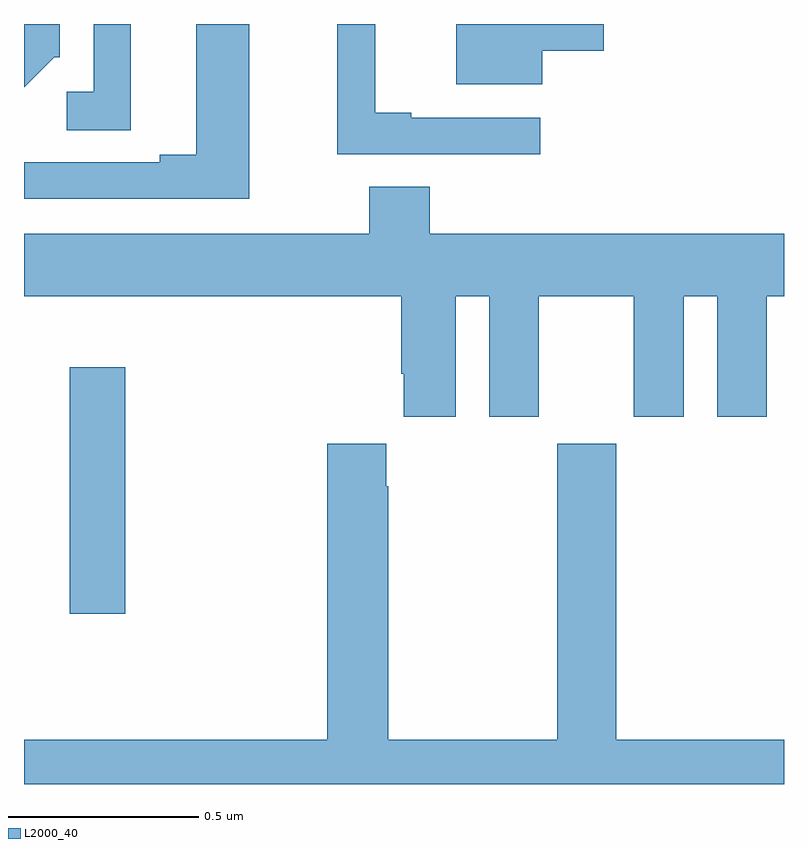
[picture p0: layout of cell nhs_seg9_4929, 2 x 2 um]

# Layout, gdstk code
import gdstk
lib = gdstk.Library(unit=1e-6, precision=1e-09)
def R(c, l, rs):  # rectangles x0, y0, x1, y1
    for r in rs: c.add(gdstk.rectangle(r[:2], r[2:], *l))
def P(c, l, *ps):  # polygons
    for p in ps: c.add(gdstk.Polygon(p, *l))
L2000_40 = (2000, 40)

nhs_seg9_4929 = lib.new_cell('nhs_seg9_4929')
R(nhs_seg9_4929, L2000_40, [(173.12,1164.948,173.267,1165.597)])
P(nhs_seg9_4929, L2000_40, [(174.364,1166.429),(174.526,1166.429),(174.526,1166.5),(174.137,1166.5),(174.137,1166.342),(174.364,1166.342)],
  [(173.281,1166.5),(173.184,1166.5),(173.184,1166.322),(173.112,1166.322),(173.112,1166.221),(173.281,1166.221)],
  [(174.358,1166.253),(174.019,1166.253),(174.019,1166.266),(173.924,1166.266),(173.924,1166.5),(173.824,1166.5),(173.824,1166.157),(174.358,1166.157)],
  [(173.593,1166.5),(173.453,1166.5),(173.453,1166.156),(173.357,1166.156),(173.357,1166.136),(173,1166.136),(173,1166.04),(173.593,1166.04)],
  [(173.079,1166.412),(173.094,1166.412),(173.094,1166.5),(173,1166.5),(173,1166.333)],
  [(174.136,1165.784),(174.224,1165.784),(174.224,1165.467),(174.355,1165.467),(174.355,1165.784),(174.605,1165.784),(174.605,1165.467),(174.736,1165.467),(174.736,1165.784),(174.824,1165.784),(174.824,1165.467),(174.955,1165.467),(174.955,1165.784),(175,1165.784),(175,1165.948),(174.068,1165.948),(174.068,1166.072),(173.908,1166.072),(173.908,1165.948),(173,1165.948),(173,1165.784),(173.993,1165.784),(173.993,1165.579),(173.999,1165.579),(173.999,1165.467),(174.136,1165.467)],
  [(175,1164.616),(174.558,1164.616),(174.558,1165.396),(174.403,1165.396),(174.403,1164.616),(173.958,1164.616),(173.958,1165.283),(173.953,1165.283),(173.953,1165.396),(173.798,1165.396),(173.798,1164.616),(173,1164.616),(173,1164.5),(175,1164.5)])

lib.write_gds('nhs_seg9_4929.gds')
